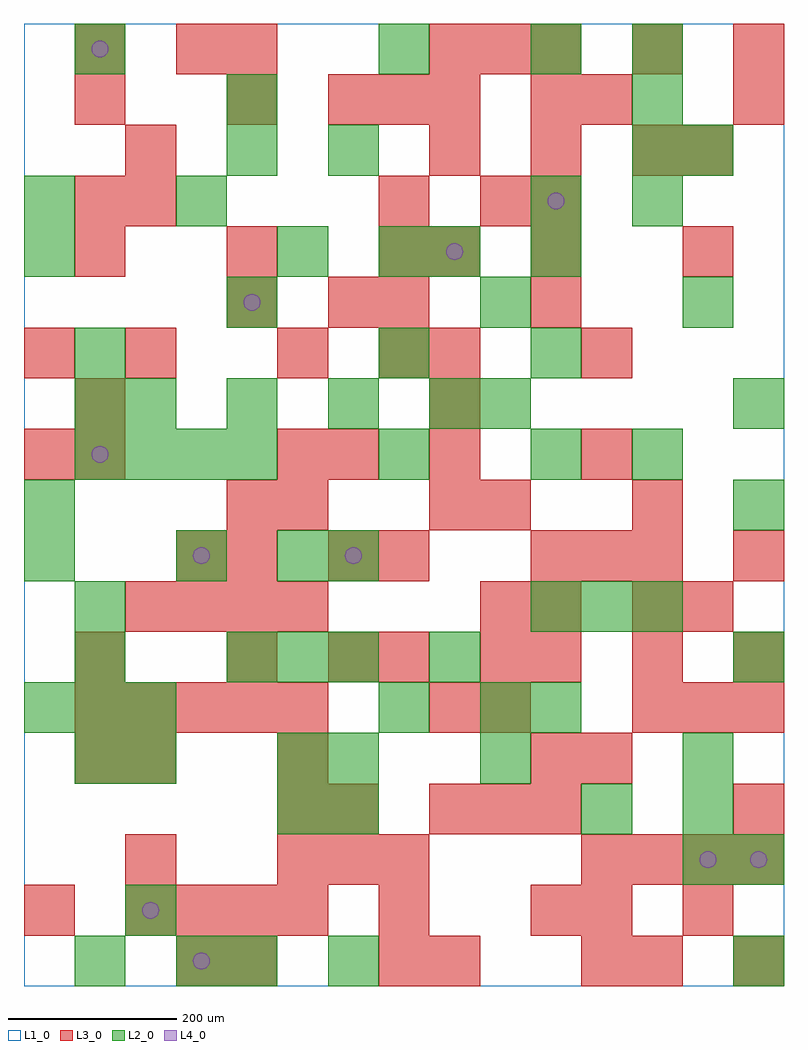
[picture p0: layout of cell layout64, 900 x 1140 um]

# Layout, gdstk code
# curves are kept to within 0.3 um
import gdstk
lib = gdstk.Library(unit=1e-6, precision=1e-09)
def R(c, l, rs):  # rectangles x0, y0, x1, y1
    for r in rs: c.add(gdstk.rectangle(r[:2], r[2:], *l))
def A(c, l, x, y, w, h, nx, ny, dx, dy):  # array of equal rectangles
    R(c, l, [(x+i*dx, y+j*dy, x+i*dx+w, y+j*dy+h) for i in range(nx) for j in range(ny)])
def P(c, l, *ps):  # polygons
    for p in ps: c.add(gdstk.Polygon(p, *l))
L1_0 = (1, 0)
L2_0 = (2, 0)
L3_0 = (3, 0)
L4_0 = (4, 0)

layout64 = lib.new_cell('layout64')
R(layout64, L1_0, [(0,0,900,1140)])
A(layout64, L2_0, 780, 120, 60, 60, 1, 3, 0, 60)
A(layout64, L2_0, 0, 300, 60, 60, 3, 1, 60, 0)
A(layout64, L2_0, 240, 360, 60, 60, 3, 1, 60, 0)
A(layout64, L2_0, 600, 420, 60, 60, 3, 1, 60, 0)
A(layout64, L2_0, 60, 600, 60, 60, 4, 1, 60, 0)
A(layout64, L2_0, 420, 600, 60, 60, 1, 3, 0, 120)
A(layout64, L2_0, 600, 600, 60, 60, 1, 3, 0, 120)
A(layout64, L2_0, 120, 660, 60, 60, 4, 1, 120, 0)
A(layout64, L2_0, 720, 900, 60, 60, 1, 4, 0, 60)
R(layout64, L2_0, [(60,0,120,60), (180,0,240,60), (240,0,300,60), (360,0,420,60), (840,0,900,60), (120,60,180,120), (840,120,900,180), (300,180,360,240), (360,180,420,240), (660,180,720,240), (60,240,120,300), (120,240,180,300), (300,240,360,300), (360,240,420,300), (540,240,600,300), (420,300,480,360), (540,300,600,360), (600,300,660,360), (60,360,120,420), (480,360,540,420), (840,360,900,420), (60,420,120,480), (0,480,60,540), (180,480,240,540), (300,480,360,540), (360,480,420,540), (0,540,60,600), (840,540,900,600), (720,600,780,660), (60,660,120,720), (540,660,600,720), (840,660,900,720), (60,720,120,780), (240,780,300,840), (540,780,600,840), (780,780,840,840), (0,840,60,900), (300,840,360,900), (480,840,540,900), (0,900,60,960), (180,900,240,960), (600,900,660,960), (240,960,300,1020), (360,960,420,1020), (780,960,840,1020), (240,1020,300,1080), (60,1080,120,1140), (420,1080,480,1140), (600,1080,660,1140)])
A(layout64, L3_0, 120, 60, 60, 60, 4, 2, 60, 360)
A(layout64, L3_0, 600, 60, 60, 60, 1, 3, 0, 180)
A(layout64, L3_0, 300, 120, 60, 60, 3, 1, 60, 0)
A(layout64, L3_0, 660, 120, 60, 60, 4, 1, 60, 0)
A(layout64, L3_0, 480, 180, 60, 60, 3, 2, 60, 900)
A(layout64, L3_0, 60, 300, 60, 60, 5, 1, 60, 0)
A(layout64, L3_0, 540, 300, 60, 60, 1, 3, 0, 60)
A(layout64, L3_0, 720, 300, 60, 60, 3, 1, 60, 0)
A(layout64, L3_0, 360, 360, 60, 60, 1, 3, 0, 120)
A(layout64, L3_0, 600, 360, 60, 60, 3, 1, 120, 0)
A(layout64, L3_0, 600, 480, 60, 60, 3, 1, 60, 0)
A(layout64, L3_0, 240, 540, 60, 60, 1, 3, 0, 240)
A(layout64, L3_0, 480, 540, 60, 60, 1, 4, 0, 60)
A(layout64, L3_0, 600, 780, 60, 60, 1, 3, 0, 60)
A(layout64, L3_0, 60, 840, 60, 60, 3, 1, 180, 0)
A(layout64, L3_0, 480, 960, 60, 60, 3, 1, 120, 0)
A(layout64, L3_0, 360, 1020, 60, 60, 3, 1, 60, 0)
R(layout64, L3_0, [(180,0,240,60), (240,0,300,60), (420,0,480,60), (480,0,540,60), (660,0,720,60), (720,0,780,60), (840,0,900,60), (0,60,60,120), (420,60,480,120), (660,60,720,120), (780,60,840,120), (120,120,180,180), (300,180,360,240), (360,180,420,240), (840,180,900,240), (60,240,120,300), (120,240,180,300), (300,240,360,300), (660,240,720,300), (480,300,540,360), (60,360,120,420), (240,360,300,420), (420,360,480,420), (720,420,780,480), (780,420,840,480), (180,480,240,540), (240,480,300,540), (420,480,480,540), (840,480,900,540), (300,540,360,600), (540,540,600,600), (720,540,780,600), (0,600,60,660), (60,600,120,660), (300,600,360,660), (660,600,720,660), (60,660,120,720), (0,720,60,780), (120,720,180,780), (300,720,360,780), (420,720,480,780), (660,720,720,780), (360,780,420,840), (420,780,480,840), (480,840,540,900), (780,840,840,900), (60,900,120,960), (120,900,180,960), (420,900,480,960), (540,900,600,960), (120,960,180,1020), (780,960,840,1020), (60,1020,120,1080), (600,1020,660,1080), (660,1020,720,1080), (840,1020,900,1080), (60,1080,120,1140), (180,1080,240,1140), (240,1080,300,1140), (720,1080,780,1140), (840,1080,900,1140)])
P(layout64, L4_0, [(100,630),(99.239,633.827),(97.071,637.071),(93.827,639.239),(90,640),(86.173,639.239),(82.929,637.071),(80.761,633.827),(80,630),(80.761,626.173),(82.929,622.929),(86.173,620.761),(90,620),(93.827,620.761),(97.071,622.929),(99.239,626.173)],
  [(100,1110),(99.239,1113.827),(97.071,1117.071),(93.827,1119.239),(90,1120),(86.173,1119.239),(82.929,1117.071),(80.761,1113.827),(80,1110),(80.761,1106.173),(82.929,1102.929),(86.173,1100.761),(90,1100),(93.827,1100.761),(97.071,1102.929),(99.239,1106.173)],
  [(160,90),(159.239,93.827),(157.071,97.071),(153.827,99.239),(150,100),(146.173,99.239),(142.929,97.071),(140.761,93.827),(140,90),(140.761,86.173),(142.929,82.929),(146.173,80.761),(150,80),(153.827,80.761),(157.071,82.929),(159.239,86.173)],
  [(220,30),(219.239,33.827),(217.071,37.071),(213.827,39.239),(210,40),(206.173,39.239),(202.929,37.071),(200.761,33.827),(200,30),(200.761,26.173),(202.929,22.929),(206.173,20.761),(210,20),(213.827,20.761),(217.071,22.929),(219.239,26.173)],
  [(220,510),(219.239,513.827),(217.071,517.071),(213.827,519.239),(210,520),(206.173,519.239),(202.929,517.071),(200.761,513.827),(200,510),(200.761,506.173),(202.929,502.929),(206.173,500.761),(210,500),(213.827,500.761),(217.071,502.929),(219.239,506.173)],
  [(280,810),(279.239,813.827),(277.071,817.071),(273.827,819.239),(270,820),(266.173,819.239),(262.929,817.071),(260.761,813.827),(260,810),(260.761,806.173),(262.929,802.929),(266.173,800.761),(270,800),(273.827,800.761),(277.071,802.929),(279.239,806.173)],
  [(400,510),(399.239,513.827),(397.071,517.071),(393.827,519.239),(390,520),(386.173,519.239),(382.929,517.071),(380.761,513.827),(380,510),(380.761,506.173),(382.929,502.929),(386.173,500.761),(390,500),(393.827,500.761),(397.071,502.929),(399.239,506.173)],
  [(520,870),(519.239,873.827),(517.071,877.071),(513.827,879.239),(510,880),(506.173,879.239),(502.929,877.071),(500.761,873.827),(500,870),(500.761,866.173),(502.929,862.929),(506.173,860.761),(510,860),(513.827,860.761),(517.071,862.929),(519.239,866.173)],
  [(640,930),(639.239,933.827),(637.071,937.071),(633.827,939.239),(630,940),(626.173,939.239),(622.929,937.071),(620.761,933.827),(620,930),(620.761,926.173),(622.929,922.929),(626.173,920.761),(630,920),(633.827,920.761),(637.071,922.929),(639.239,926.173)],
  [(820,150),(819.239,153.827),(817.071,157.071),(813.827,159.239),(810,160),(806.173,159.239),(802.929,157.071),(800.761,153.827),(800,150),(800.761,146.173),(802.929,142.929),(806.173,140.761),(810,140),(813.827,140.761),(817.071,142.929),(819.239,146.173)],
  [(880,150),(879.239,153.827),(877.071,157.071),(873.827,159.239),(870,160),(866.173,159.239),(862.929,157.071),(860.761,153.827),(860,150),(860.761,146.173),(862.929,142.929),(866.173,140.761),(870,140),(873.827,140.761),(877.071,142.929),(879.239,146.173)])

lib.write_gds('layout64.gds')
